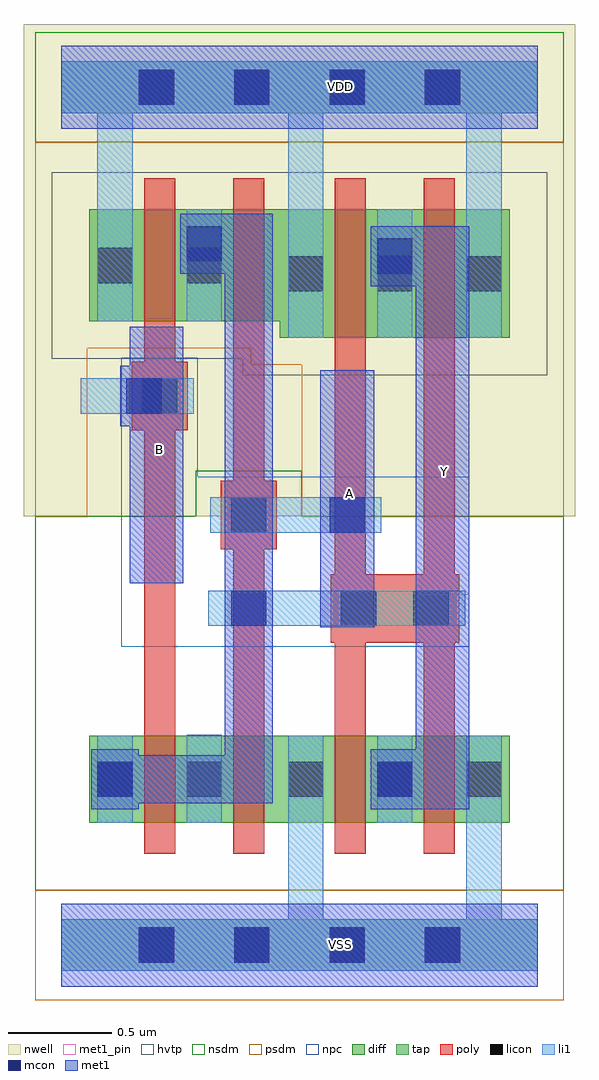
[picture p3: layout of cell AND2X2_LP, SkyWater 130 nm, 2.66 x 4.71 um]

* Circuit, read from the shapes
.subckt AND2X2_LP A B VDD VSS Y
XM1 n1 B n2 VSS sky130_fd_pr__nfet_01v8 w=0.42 l=0.15
XM2 VSS A n1 VSS sky130_fd_pr__nfet_01v8 w=0.42 l=0.15
XM3 Y n2 VSS VSS sky130_fd_pr__nfet_01v8 w=0.42 l=0.15 m=2
XM4 n2 B VDD VDD sky130_fd_pr__pfet_01v8_hvt w=0.54 l=0.15
XM5 VDD A n2 VDD sky130_fd_pr__pfet_01v8_hvt w=0.54 l=0.15
XM6 Y n2 VDD VDD sky130_fd_pr__pfet_01v8_hvt w=0.62 l=0.15 m=2
.ends

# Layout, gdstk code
from math import pi, radians
import gdstk
lib = gdstk.Library(unit=1e-6, precision=1e-09)
def R(c, l, rs):  # rectangles x0, y0, x1, y1
    for r in rs: c.add(gdstk.rectangle(r[:2], r[2:], *l))
def A(c, l, x, y, w, h, nx, ny, dx, dy):  # array of equal rectangles
    R(c, l, [(x+i*dx, y+j*dy, x+i*dx+w, y+j*dy+h) for i in range(nx) for j in range(ny)])
def P(c, l, *ps):  # polygons
    for p in ps: c.add(gdstk.Polygon(p, *l))
nwell = (64, 20)
diff = (65, 20)
tap = (65, 44)
poly = (66, 20)
licon = (66, 44)
li1 = (67, 20)
mcon = (67, 44)
met1_pin = (68, 16)
met1 = (68, 20)
hvtp = (78, 44)
nsdm = (93, 44)
psdm = (94, 20)
npc = (95, 20)

l1m1_c_cdns_750721840971 = lib.new_cell('L1M1_C_CDNS_750721840971')
R(l1m1_c_cdns_750721840971, li1, [(-0.085,-0.165,0.085,0.165)])
R(l1m1_c_cdns_750721840971, mcon, [(-0.085,-0.085,0.085,0.085)])
R(l1m1_c_cdns_750721840971, met1, [(-0.115,-0.145,0.115,0.145)])

l1m1_c_cdns_750721840973 = lib.new_cell('L1M1_C_CDNS_750721840973')
R(l1m1_c_cdns_750721840973, li1, [(-0.165,-0.085,0.165,0.085)])
R(l1m1_c_cdns_750721840973, mcon, [(-0.085,-0.085,0.085,0.085)])
R(l1m1_c_cdns_750721840973, met1, [(-0.115,-0.145,0.115,0.145)])

licondiff_c_cdns_7507218 = lib.new_cell('LICONDIFF_C_CDNS_750721840974')
R(licondiff_c_cdns_7507218, diff, [(-0.125,-0.145,0.125,0.145)])
R(licondiff_c_cdns_7507218, licon, [(-0.085,-0.085,0.085,0.085), (-0.085,-0.085,0.085,0.085)])

pyl1con_c_cdns_750721840 = lib.new_cell('PYL1CON_C_CDNS_750721840972')
R(pyl1con_c_cdns_750721840, poly, [(-0.135,-0.165,0.135,0.165)])
R(pyl1con_c_cdns_750721840, licon, [(-0.085,-0.085,0.085,0.085)])
R(pyl1con_c_cdns_750721840, npc, [(-0.185,-0.185,0.185,0.185)])

and2x2_lp = lib.new_cell('AND2X2_LP')
R(and2x2_lp, nwell, [(-0.18,2.07,2.48,4.305), (0.875,2.75,2.345,3.73), (-0.045,2.83,0.955,3.73), (0.595,2.83,1.235,3.73), (-0.18,3.875,2.48,4.445)])
R(and2x2_lp, diff, [(0.135,0.59,0.4,1.01), (0.4,0.59,0.55,1.01), (0.55,0.59,0.775,1.01), (0.775,0.59,0.83,1.01), (0.83,0.59,0.98,1.01), (0.98,0.59,1.055,1.01), (1.055,0.59,1.32,1.01), (1.32,0.59,1.47,1.01), (1.47,0.59,1.75,1.01), (1.75,0.59,1.9,1.01), (1.9,0.59,2.165,1.01), (1.055,2.93,1.32,3.55), (1.32,2.93,1.47,3.55), (1.47,2.93,1.75,3.55), (1.75,2.93,1.9,3.55), (1.9,2.93,2.165,3.55), (0.135,3.01,0.4,3.55), (0.4,3.01,0.55,3.55), (0.55,3.01,0.775,3.55), (0.775,3.01,0.83,3.55), (0.83,3.01,0.98,3.55), (0.98,3.01,1.055,3.55)])
R(and2x2_lp, poly, [(0.4,0.44,0.55,0.495), (0.83,0.44,0.98,0.495), (1.32,0.44,1.47,0.495), (1.75,0.44,1.9,0.495), (0.4,0.495,0.55,0.59), (0.83,0.495,0.98,0.59), (1.32,0.495,1.47,0.59), (1.75,0.495,1.9,0.59), (0.4,0.59,0.55,1.01), (0.83,0.59,0.98,1.01), (1.32,0.59,1.47,1.01), (1.75,0.59,1.9,1.01), (0.4,1.01,0.55,1.105), (0.83,1.01,0.98,1.105), (1.32,1.01,1.47,1.105), (1.75,1.01,1.9,1.105), (0.4,1.105,0.55,1.16), (0.83,1.105,0.98,1.16), (1.32,1.105,1.47,1.16), (1.75,1.105,1.9,1.16), (1.32,2.78,1.47,2.835), (1.75,2.78,1.9,2.835), (1.32,2.835,1.47,2.93), (1.75,2.835,1.9,2.93), (0.4,2.86,0.55,2.915), (0.83,2.86,0.98,2.915), (0.4,2.915,0.55,3.01), (0.83,2.915,0.98,3.01), (1.32,2.93,1.47,3.55), (1.75,2.93,1.9,3.55), (0.4,3.01,0.55,3.55), (0.83,3.01,0.98,3.55), (0.4,3.55,0.55,3.645), (0.83,3.55,0.98,3.645), (1.32,3.55,1.47,3.645), (1.75,3.55,1.9,3.645), (0.4,3.645,0.55,3.7), (0.83,3.645,0.98,3.7), (1.32,3.645,1.47,3.7), (1.75,3.645,1.9,3.7)])
A(and2x2_lp, licon, 0.375, -0.085, 0.17, 0.17, 4, 2, 0.46, 4.14)
A(and2x2_lp, licon, 1.095, 0.715, 0.17, 0.17, 3, 2, 0.43, 2.44)
R(and2x2_lp, licon, [(0.175,0.715,0.345,0.885), (0.175,3.195,0.345,3.365), (0.605,3.195,0.775,3.365)])
A(and2x2_lp, li1, 1.095, 0.59, 0.17, 0.42, 3, 1, 0.43, 0)
A(and2x2_lp, li1, 1.095, 2.93, 0.17, 0.62, 3, 1, 0.43, 0)
R(and2x2_lp, li1, [(1.955,0,2.125,0.59), (1.095,0.005,1.265,0.59), (0.175,0.59,0.345,1.01), (0.175,3.01,0.345,3.55), (0.605,3.01,0.775,3.55)])
A(and2x2_lp, mcon, 0.375, -0.085, 0.17, 0.17, 4, 2, 0.46, 4.14)
R(and2x2_lp, met1_pin, [(1.25,1.535,1.51,2.775), (1.71,1.69,1.97,3.47), (0.33,1.745,0.59,2.985)])
R(and2x2_lp, hvtp, [(0.875,2.75,2.345,3.73), (-0.045,2.83,0.955,3.73), (0.595,2.83,1.235,3.73)])
R(and2x2_lp, nsdm, [(-0.005,0.46,0.785,1.14), (0.765,0.46,0.935,1.14), (0.915,0.46,2.305,1.14), (-0.125,3.875,2.425,4.405), (-0.125,3.93,2.425,4.35)])
P(and2x2_lp, nsdm, [(2.425,2.07),(1.16,2.07),(1.16,2.29),(0.65,2.29),(0.65,2.07),(-0.125,2.07),(-0.125,0.265),(2.425,0.265)])
R(and2x2_lp, psdm, [(-0.125,-0.265,2.425,0.265), (-0.125,-0.21,2.425,0.21), (0.915,2.8,2.305,3.68), (-0.005,2.88,0.785,3.68), (0.765,2.88,0.935,3.68)])
P(and2x2_lp, psdm, [(2.425,3.875),(-0.125,3.875),(-0.125,2.07),(0.125,2.07),(0.125,2.88),(1.16,2.88),(1.16,2.07),(2.425,2.07)])
R(and2x2_lp, npc, [(0.72,1.89,1.09,2.26)])
P(and2x2_lp, npc, [(1.97,2.26),(0.66,2.26),(0.66,2.835),(0.29,2.835),(0.29,1.44),(1.97,1.44)])
and2x2_lp.add(gdstk.FlexPath([(1.435,1.625),(1.785,1.625)], 0.33, ends="flush", simple_path=True, layer=66, datatype=20))  # poly
and2x2_lp.add(gdstk.FlexPath([(0.475,1.16),(0.475,2.86)], 0.15, ends="flush", simple_path=True, layer=66, datatype=20))  # poly
and2x2_lp.add(gdstk.FlexPath([(1.825,2.78),(1.825,1.16)], 0.15, ends="flush", simple_path=True, layer=66, datatype=20))  # poly
and2x2_lp.add(gdstk.FlexPath([(0.905,1.16),(0.905,2.86)], 0.15, ends="flush", simple_path=True, layer=66, datatype=20))  # poly
and2x2_lp.add(gdstk.FlexPath([(1.395,1.16),(1.395,2.78)], 0.15, ends="flush", simple_path=True, layer=66, datatype=20))  # poly
and2x2_lp.add(gdstk.FlexPath([(1.05,2.075),(1.38,2.075)], 0.17, ends="flush", simple_path=True, layer=67, datatype=20))  # li1
and2x2_lp.add(gdstk.FlexPath([(1.18,3.55),(1.18,4.14)], 0.17, ends=(0, 0.125), simple_path=True, layer=67, datatype=20))  # li1
and2x2_lp.add(gdstk.FlexPath([(0.72,2.075),(1.05,2.075)], 0.17, ends="flush", simple_path=True, layer=67, datatype=20))  # li1
and2x2_lp.add(gdstk.FlexPath([(0.26,3.55),(0.26,4.14)], 0.17, ends="flush", simple_path=True, layer=67, datatype=20))  # li1
and2x2_lp.add(gdstk.FlexPath([(0.095,2.65),(0.64,2.65)], 0.17, ends="flush", simple_path=True, layer=67, datatype=20))  # li1
and2x2_lp.add(gdstk.FlexPath([(0.71,1.625),(1.95,1.625)], 0.17, ends="flush", simple_path=True, layer=67, datatype=20))  # li1
and2x2_lp.add(gdstk.FlexPath([(0.295,2.65),(0.64,2.65)], 0.17, ends="flush", simple_path=True, layer=67, datatype=20))  # li1
and2x2_lp.add(gdstk.FlexPath([(2.04,4.14),(2.3,4.14)], 0.25, ends=(0.085, 0), simple_path=True, layer=67, datatype=20))  # li1
and2x2_lp.add(gdstk.FlexPath([(0.26,4.14),(1.18,4.14)], 0.25, ends=(0.085, 0.085), simple_path=True, layer=67, datatype=20))  # li1
and2x2_lp.add(gdstk.FlexPath([(0.69,0.59),(0.69,1.015)], 0.17, ends="flush", simple_path=True, layer=67, datatype=20))  # li1
and2x2_lp.add(gdstk.FlexPath([(0,4.14),(0.26,4.14)], 0.25, ends=(0, 0.085), simple_path=True, layer=67, datatype=20))  # li1
and2x2_lp.add(gdstk.FlexPath([(2.04,3.55),(2.04,4.14)], 0.17, ends=(0, 0.125), simple_path=True, layer=67, datatype=20))  # li1
and2x2_lp.add(gdstk.FlexPath([(1.18,4.14),(2.04,4.14)], 0.25, ends=(0.085, 0.085), simple_path=True, layer=67, datatype=20))  # li1
and2x2_lp.add(gdstk.FlexPath([(1.18,0),(2.3,0)], 0.25, ends=(0.085, 0), simple_path=True, layer=67, datatype=20))  # li1
and2x2_lp.add(gdstk.FlexPath([(0,0),(1.18,0)], 0.25, ends=(0, 0.085), simple_path=True, layer=67, datatype=20))  # li1
and2x2_lp.add(gdstk.FlexPath([(0,0),(2.3,0)], 0.4, ends="flush", simple_path=True, layer=68, datatype=16))  # met1_pin
and2x2_lp.add(gdstk.FlexPath([(0,4.14),(2.3,4.14)], 0.4, ends="flush", simple_path=True, layer=68, datatype=16))  # met1_pin
and2x2_lp.add(gdstk.FlexPath([(0.9,0.8),(0.255,0.8)], 0.23, ends=(0.115, 0), simple_path=True, layer=68, datatype=20))  # met1
and2x2_lp.add(gdstk.FlexPath([(0.46,2.985),(0.46,1.745)], 0.26, ends="flush", simple_path=True, layer=68, datatype=20))  # met1
and2x2_lp.add(gdstk.FlexPath([(1.84,0.785),(1.84,3.34)], 0.26, ends="extended", simple_path=True, layer=68, datatype=20))  # met1
and2x2_lp.add(gdstk.FlexPath([(0.905,3.53),(0.905,0.8)], 0.23, ends=(0, 0.115), simple_path=True, layer=68, datatype=20))  # met1
and2x2_lp.add(gdstk.FlexPath([(1.38,2.775),(1.38,1.535)], 0.26, ends="flush", simple_path=True, layer=68, datatype=20))  # met1
and2x2_lp.add(gdstk.FlexPath([(0,0),(2.3,0)], 0.4, ends="flush", simple_path=True, layer=68, datatype=20))  # met1
and2x2_lp.add(gdstk.FlexPath([(0,4.14),(2.3,4.14)], 0.4, ends="flush", simple_path=True, layer=68, datatype=20))  # met1
and2x2_lp.add(gdstk.FlexPath([(1.84,3.34),(1.495,3.34)], 0.26, ends=(0.13, 0), simple_path=True, layer=68, datatype=20))  # met1
and2x2_lp.add(gdstk.FlexPath([(0,0),(2.3,0)], 0.25, ends="flush", simple_path=True, layer=65, datatype=44))  # tap
and2x2_lp.add(gdstk.FlexPath([(0,4.14),(2.3,4.14)], 0.25, ends="flush", simple_path=True, layer=65, datatype=44))  # tap
and2x2_lp.add(gdstk.Reference(l1m1_c_cdns_750721840971, (1.61,0.8)))
and2x2_lp.add(gdstk.Reference(l1m1_c_cdns_750721840971, (1.61,3.325)))
and2x2_lp.add(gdstk.Reference(l1m1_c_cdns_750721840971, (0.69,3.385)))
and2x2_lp.add(gdstk.Reference(l1m1_c_cdns_750721840971, (0.26,0.8)))
and2x2_lp.add(gdstk.Reference(l1m1_c_cdns_750721840973, (1.38,2.075)))
and2x2_lp.add(gdstk.Reference(l1m1_c_cdns_750721840973, (0.4,2.65)))
and2x2_lp.add(gdstk.Reference(l1m1_c_cdns_750721840973, (0.905,1.625), rotation=pi, x_reflection=True))
and2x2_lp.add(gdstk.Reference(licondiff_c_cdns_7507218, (0.69,0.8)))
and2x2_lp.add(gdstk.Reference(pyl1con_c_cdns_750721840, (1.785,1.625), x_reflection=True))
and2x2_lp.add(gdstk.Reference(pyl1con_c_cdns_750721840, (1.435,1.625), rotation=pi))
and2x2_lp.add(gdstk.Reference(pyl1con_c_cdns_750721840, (0.905,2.075), rotation=pi, x_reflection=True))
and2x2_lp.add(gdstk.Reference(pyl1con_c_cdns_750721840, (0.475,2.65), rotation=pi, x_reflection=True))
and2x2_lp.add(gdstk.Label('B', (0.472,2.392), layer=68, texttype=5))
and2x2_lp.add(gdstk.Label('VDD', (1.35,4.145), layer=68, texttype=5))
and2x2_lp.add(gdstk.Label('A', (1.392,2.181), layer=68, texttype=5))
and2x2_lp.add(gdstk.Label('VSS', (1.35,0.005), layer=68, texttype=5))
and2x2_lp.add(gdstk.Label('Y', (1.852,2.284), layer=68, texttype=5))

lib.write_gds('AND2X2_LP.gds')
